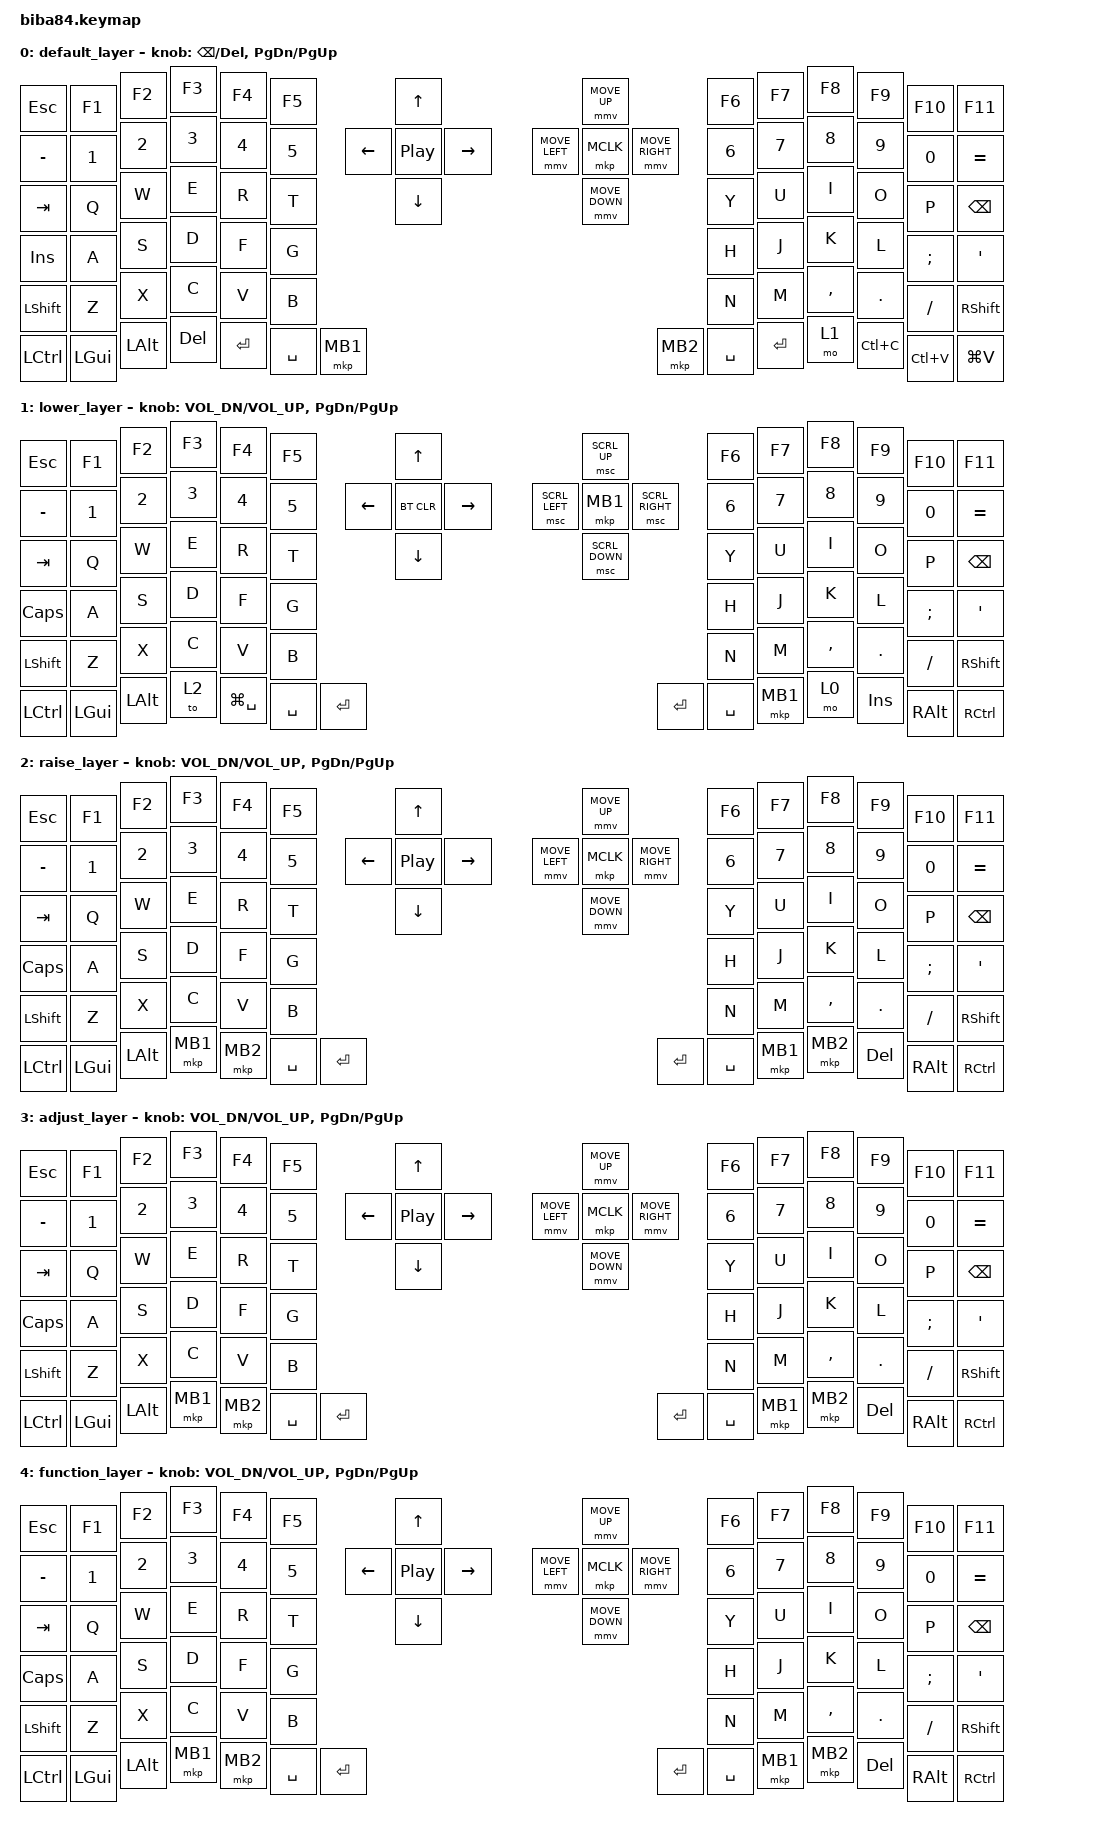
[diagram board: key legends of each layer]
/*
 * Copyright (c) 2020 The ZMK Contributors
 *
 * SPDX-License-Identifier: MIT
 */

#include <input/processors.dtsi>
#include <zephyr/dt-bindings/input/input-event-codes.h>
#include <dt-bindings/zmk/mouse.h>
#include <behaviors/mouse_keys.dtsi>
#include <behaviors.dtsi>
#include <dt-bindings/zmk/bt.h>
#include <dt-bindings/zmk/keys.h>
#include <dt-bindings/zmk/pointing.h>

#define DEFAULT 0
#define LOWER  1
#define RAISE  2
#define ADJUST 3
#define FUNCTION 4

/* NOTE: At the time of the creation of this keymap, there are no specified codes for 'eisuu' and 'kana' input in ZMK.
However, 'LANG1' and 'LANG2' are fully-functioning candidates for 'kana' and 'eisuu' input respectively.
As such, those are in use within the default layer at this time.*/

&mmv_input_listener { input-processors = <&zip_xy_scaler 2 1>; };

&msc_input_listener { input-processors = <&zip_scroll_scaler 2 1>; };

&msc {
    acceleration-exponent = <1>;      // 0
    time-to-max-speed-ms = <100>;       // 300
    delay-ms = <0>;                   // 0
};

&mmv {
    time-to-max-speed-ms = <500>;
    acceleration-exponent = <1>;
    trigger-period-ms = <16>;
};

&soft_off {
    hold-time-ms = <3000>; // Only turn off it the key is held for 3 seconds or longer.
};

/ {
    keymap {
        compatible = "zmk,keymap";

        default_layer {
            bindings = <
&kp ESC     &kp F1    &kp F2    &kp F3   &kp F4     &kp F5     &kp UP            &mmv MOVE_UP     &kp F6     &kp F7     &kp F8     &kp F9     &kp F10    &kp F11
&kp MINUS   &kp N1    &kp N2    &kp N3   &kp N4     &kp N5     &kp RIGHT         &mmv MOVE_LEFT   &kp N6     &kp N7     &kp N8     &kp N9     &kp N0     &kp EQUAL
&kp TAB     &kp Q     &kp W     &kp E    &kp R      &kp T      &kp C_PLAY_PAUSE  &mkp MCLK        &kp Y      &kp U      &kp I      &kp O      &kp P      &kp BSPC
&kp INSERT  &kp A     &kp S     &kp D    &kp F      &kp G      &kp LEFT          &mmv MOVE_RIGHT  &kp H      &kp J      &kp K      &kp L      &kp SEMI   &kp APOS
&kp LSHFT   &kp Z     &kp X     &kp C    &kp V      &kp B      &kp DOWN          &mmv MOVE_DOWN   &kp N      &kp M      &kp COMMA  &kp DOT    &kp FSLH   &kp RSHFT
&kp LCTRL   &kp LGUI  &kp LALT  &kp DEL  &kp ENTER  &kp SPACE  &mkp MB1          &mkp MB2         &kp SPACE  &kp ENTER  &mo 1      &kp LC(C)  &kp LC(V)  &kp LG(V)
            >;

            sensor-bindings =
                <&inc_dec_kp BACKSPACE DELETE>,
                <&inc_dec_kp PG_DN PG_UP>;
        };

        lower_layer {
            bindings = <
&kp ESC    &kp F1    &kp F2    &kp F3  &kp F4         &kp F5     &kp UP      &msc SCRL_UP     &kp F6     &kp F7    &kp F8     &kp F9      &kp F10   &kp F11
&kp MINUS  &kp N1    &kp N2    &kp N3  &kp N4         &kp N5     &kp RIGHT   &msc SCRL_LEFT   &kp N6     &kp N7    &kp N8     &kp N9      &kp N0    &kp EQUAL
&kp TAB    &kp Q     &kp W     &kp E   &kp R          &kp T      &bt BT_CLR  &mkp MB1         &kp Y      &kp U     &kp I      &kp O       &kp P     &kp BSPC
&kp CAPS   &kp A     &kp S     &kp D   &kp F          &kp G      &kp LEFT    &msc SCRL_RIGHT  &kp H      &kp J     &kp K      &kp L       &kp SEMI  &kp APOS
&kp LSHFT  &kp Z     &kp X     &kp C   &kp V          &kp B      &kp DOWN    &msc SCRL_DOWN   &kp N      &kp M     &kp COMMA  &kp DOT     &kp FSLH  &kp RSHFT
&kp LCTRL  &kp LGUI  &kp LALT  &to 2   &kp LG(SPACE)  &kp SPACE  &kp ENTER   &kp ENTER        &kp SPACE  &mkp MB1  &mo 0      &kp INSERT  &kp RALT  &kp RCTRL
            >;

            sensor-bindings = <&inc_dec_kp C_VOL_DN C_VOL_UP &inc_dec_kp PG_DN PG_UP>;
        };

        raise_layer {
            bindings = <
&kp ESC    &kp F1    &kp F2    &kp F3    &kp F4    &kp F5     &kp UP            &mmv MOVE_UP     &kp F6     &kp F7    &kp F8     &kp F9   &kp F10   &kp F11
&kp MINUS  &kp N1    &kp N2    &kp N3    &kp N4    &kp N5     &kp RIGHT         &mmv MOVE_LEFT   &kp N6     &kp N7    &kp N8     &kp N9   &kp N0    &kp EQUAL
&kp TAB    &kp Q     &kp W     &kp E     &kp R     &kp T      &kp C_PLAY_PAUSE  &mkp MCLK        &kp Y      &kp U     &kp I      &kp O    &kp P     &kp BSPC
&kp CAPS   &kp A     &kp S     &kp D     &kp F     &kp G      &kp LEFT          &mmv MOVE_RIGHT  &kp H      &kp J     &kp K      &kp L    &kp SEMI  &kp APOS
&kp LSHFT  &kp Z     &kp X     &kp C     &kp V     &kp B      &kp DOWN          &mmv MOVE_DOWN   &kp N      &kp M     &kp COMMA  &kp DOT  &kp FSLH  &kp RSHFT
&kp LCTRL  &kp LGUI  &kp LALT  &mkp MB1  &mkp MB2  &kp SPACE  &kp ENTER         &kp ENTER        &kp SPACE  &mkp MB1  &mkp MB2   &kp DEL  &kp RALT  &kp RCTRL
            >;

            sensor-bindings = <&inc_dec_kp C_VOL_DN C_VOL_UP &inc_dec_kp PG_DN PG_UP>;
        };

        adjust_layer {
            bindings = <
&kp ESC    &kp F1    &kp F2    &kp F3    &kp F4    &kp F5     &kp UP            &mmv MOVE_UP     &kp F6     &kp F7    &kp F8     &kp F9   &kp F10   &kp F11
&kp MINUS  &kp N1    &kp N2    &kp N3    &kp N4    &kp N5     &kp RIGHT         &mmv MOVE_LEFT   &kp N6     &kp N7    &kp N8     &kp N9   &kp N0    &kp EQUAL
&kp TAB    &kp Q     &kp W     &kp E     &kp R     &kp T      &kp C_PLAY_PAUSE  &mkp MCLK        &kp Y      &kp U     &kp I      &kp O    &kp P     &kp BSPC
&kp CAPS   &kp A     &kp S     &kp D     &kp F     &kp G      &kp LEFT          &mmv MOVE_RIGHT  &kp H      &kp J     &kp K      &kp L    &kp SEMI  &kp APOS
&kp LSHFT  &kp Z     &kp X     &kp C     &kp V     &kp B      &kp DOWN          &mmv MOVE_DOWN   &kp N      &kp M     &kp COMMA  &kp DOT  &kp FSLH  &kp RSHFT
&kp LCTRL  &kp LGUI  &kp LALT  &mkp MB1  &mkp MB2  &kp SPACE  &kp ENTER         &kp ENTER        &kp SPACE  &mkp MB1  &mkp MB2   &kp DEL  &kp RALT  &kp RCTRL
            >;

            sensor-bindings = <&inc_dec_kp C_VOL_DN C_VOL_UP &inc_dec_kp PG_DN PG_UP>;
        };

        function_layer {
            bindings = <
&kp ESC    &kp F1    &kp F2    &kp F3    &kp F4    &kp F5     &kp UP            &mmv MOVE_UP     &kp F6     &kp F7    &kp F8     &kp F9   &kp F10   &kp F11
&kp MINUS  &kp N1    &kp N2    &kp N3    &kp N4    &kp N5     &kp RIGHT         &mmv MOVE_LEFT   &kp N6     &kp N7    &kp N8     &kp N9   &kp N0    &kp EQUAL
&kp TAB    &kp Q     &kp W     &kp E     &kp R     &kp T      &kp C_PLAY_PAUSE  &mkp MCLK        &kp Y      &kp U     &kp I      &kp O    &kp P     &kp BSPC
&kp CAPS   &kp A     &kp S     &kp D     &kp F     &kp G      &kp LEFT          &mmv MOVE_RIGHT  &kp H      &kp J     &kp K      &kp L    &kp SEMI  &kp APOS
&kp LSHFT  &kp Z     &kp X     &kp C     &kp V     &kp B      &kp DOWN          &mmv MOVE_DOWN   &kp N      &kp M     &kp COMMA  &kp DOT  &kp FSLH  &kp RSHFT
&kp LCTRL  &kp LGUI  &kp LALT  &mkp MB1  &mkp MB2  &kp SPACE  &kp ENTER         &kp ENTER        &kp SPACE  &mkp MB1  &mkp MB2   &kp DEL  &kp RALT  &kp RCTRL
            >;

            sensor-bindings = <&inc_dec_kp C_VOL_DN C_VOL_UP &inc_dec_kp PG_DN PG_UP>;
        };
    };
};
